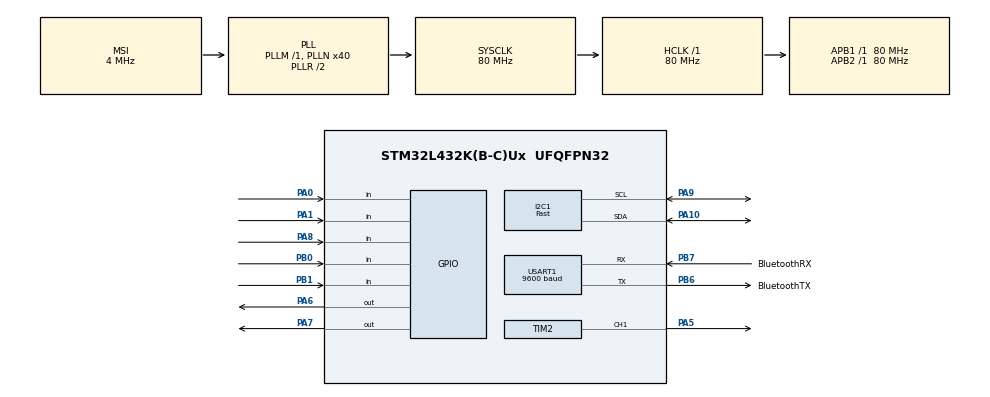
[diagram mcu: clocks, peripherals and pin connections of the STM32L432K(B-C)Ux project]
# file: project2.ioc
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FREERTOS.BinarySemaphores01=myBinarySem01,Dynamic,NULL;myBinarySem02,Dynamic,NULL
FREERTOS.Mutexes01=myMutex01,Dynamic,NULL;myMutex02,Dynamic,NULL
FREERTOS.Queues01=myQueue01,16,uint16_t,0,Dynamic,NULL,NULL;myQueue02,16,uint16_t,0,Dynamic,NULL,NULL
FREERTOS.Tasks01=defaultTask,24,128,StartDefaultTask,Default,NULL,Dynamic,NULL,NULL;myTask02,24,128,StartTask02,Default,NULL,Dynamic,NULL,NULL;myTask03,24,128,StartTask03,Default,NULL,Dynamic,NULL,NULL;myTask04,24,128,StartTask04,Default,NULL,Dynamic,NULL,NULL;myTask05,24,128,StartTask05,Default,NULL,Dynamic,NULL,NULL
FREERTOS.configTOTAL_HEAP_SIZE=4000
I2C1.I2C_Speed_Mode=I2C_Fast
I2C1.Timing=0x00702991
Mcu.Family=STM32L4
Mcu.Name=STM32L432K(B-C)Ux
Mcu.Package=UFQFPN32
NVIC.PriorityGroup=NVIC_PRIORITYGROUP_4
NVIC.TIM1_UP_TIM16_IRQn=true\:0\:0\:false\:false\:true\:false\:false\:true
NVIC.TimeBase=TIM1_UP_TIM16_IRQn
NVIC.TimeBaseIP=TIM1
NVIC.USART1_IRQn=true\:5\:0\:false\:false\:true\:true\:true\:true
PA0.Signal=GPIO_Input
PA1.Signal=GPIO_Input
PA10.Mode=I2C
PA10.Signal=I2C1_SDA
PA13\ (JTMS-SWDIO).Mode=Serial_Wire
PA13\ (JTMS-SWDIO).Signal=SYS_JTMS-SWDIO
PA14\ (JTCK-SWCLK).Mode=Serial_Wire
PA14\ (JTCK-SWCLK).Signal=SYS_JTCK-SWCLK
PA5.Signal=S_TIM2_CH1
PA6.Signal=GPIO_Output
PA7.Signal=GPIO_Output
PA8.Signal=GPIO_Input
PA9.Mode=I2C
PA9.Signal=I2C1_SCL
PB0.Signal=GPIO_Input
PB1.Signal=GPIO_Input
PB6.GPIO_Label=BluetoothTX
PB6.Mode=Asynchronous
PB6.Signal=USART1_TX
PB7.GPIO_Label=BluetoothRX
PB7.Mode=Asynchronous
PB7.Signal=USART1_RX
PC14-OSC32_IN\ (PC14).Mode=LSE-External-Oscillator
PC14-OSC32_IN\ (PC14).Signal=RCC_OSC32_IN
PC15-OSC32_OUT\ (PC15).Mode=LSE-External-Oscillator
PC15-OSC32_OUT\ (PC15).Signal=RCC_OSC32_OUT
ProjectManager.HeapSize=0x200
ProjectManager.StackSize=0x400
ProjectManager.TargetToolchain=MDK-ARM V5
RCC.AHBFreq_Value=80000000
RCC.APB1Freq_Value=80000000
RCC.APB1TimFreq_Value=80000000
RCC.APB2Freq_Value=80000000
RCC.APB2TimFreq_Value=80000000
RCC.CortexFreq_Value=80000000
RCC.HCLKFreq_Value=80000000
RCC.HSE_VALUE=8000000
RCC.HSI48_VALUE=48000000
RCC.HSI_VALUE=16000000
RCC.MSI_VALUE=4000000
RCC.PLLN=40
RCC.SYSCLKFreq_VALUE=80000000
RCC.SYSCLKSource=RCC_SYSCLKSOURCE_PLLCLK
RCC.VCOOutputFreq_Value=160000000
SH.S_TIM2_CH1.0=TIM2_CH1,PWM Generation1 CH1
TIM2.Channel-PWM\ Generation1\ CH1=TIM_CHANNEL_1
TIM2.Period=1999
TIM2.Prescaler=720
USART1.BaudRate=9600
USART1.VirtualMode-Asynchronous=VM_ASYNC
VP_FREERTOS_VS_CMSIS_V2.Mode=CMSIS_V2
VP_SYS_VS_tim1.Mode=TIM1
VP_TIM2_VS_ClockSourceINT.Mode=Internal
board=custom

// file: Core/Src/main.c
/* USER CODE BEGIN Header */
/**
  ******************************************************************************
  * @file           : main.c
  * @brief          : Main program body
  ******************************************************************************
  * @attention
  *
  * <h2><center>&copy; Copyright (c) 2021 STMicroelectronics.
  * All rights reserved.</center></h2>
  *
  * This software component is licensed by ST under BSD 3-Clause license,
  * the "License"; You may not use this file except in compliance with the
  * License. You may obtain a copy of the License at:
  *                        opensource.org/licenses/BSD-3-Clause
  *
  ******************************************************************************
  */
/* USER CODE END Header */
#include "main.h"
#include "cmsis_os.h"

/* USER CODE BEGIN Includes */
#include "ssd1306.h"
#include "fonts.h"
#include "mylibrary.h"
#include <stdlib.h>
#include "FreeRTOS.h"
#include "queue.h"
#include "cmsis_os.h"
#include "semphr.h"
#include "DC_MOTOR.h"
#include "DC_MOTOR_cfg.h"
/* USER CODE END Includes */

/* USER CODE BEGIN PD */
#define DC_MOTOR1    0

/* USER CODE END PD */

I2C_HandleTypeDef hi2c1;

TIM_HandleTypeDef htim2;

UART_HandleTypeDef huart1;

/* Definitions for defaultTask */
osThreadId_t defaultTaskHandle;
const osThreadAttr_t defaultTask_attributes = {
  .name = "defaultTask",
  .stack_size = 128 * 4,
  .priority = (osPriority_t) osPriorityNormal,
};
/* Definitions for myTask02 */
osThreadId_t myTask02Handle;
const osThreadAttr_t myTask02_attributes = {
  .name = "myTask02",
  .stack_size = 128 * 4,
  .priority = (osPriority_t) osPriorityNormal,
};
/* Definitions for myTask03 */
osThreadId_t myTask03Handle;
const osThreadAttr_t myTask03_attributes = {
  .name = "myTask03",
  .stack_size = 128 * 4,
  .priority = (osPriority_t) osPriorityNormal,
};
/* Definitions for myTask04 */
osThreadId_t myTask04Handle;
const osThreadAttr_t myTask04_attributes = {
  .name = "myTask04",
  .stack_size = 128 * 4,
  .priority = (osPriority_t) osPriorityNormal,
};
/* Definitions for myTask05 */
osThreadId_t myTask05Handle;
const osThreadAttr_t myTask05_attributes = {
  .name = "myTask05",
  .stack_size = 128 * 4,
  .priority = (osPriority_t) osPriorityNormal,
};
/* Definitions for myQueue01 */
osMessageQueueId_t myQueue01Handle;
const osMessageQueueAttr_t myQueue01_attributes = {
  .name = "myQueue01"
};
/* Definitions for myQueue02 */
osMessageQueueId_t myQueue02Handle;
const osMessageQueueAttr_t myQueue02_attributes = {
  .name = "myQueue02"
};
/* Definitions for myMutex01 */
osMutexId_t myMutex01Handle;
const osMutexAttr_t myMutex01_attributes = {
  .name = "myMutex01"
};
/* Definitions for myMutex02 */
osMutexId_t myMutex02Handle;
const osMutexAttr_t myMutex02_attributes = {
  .name = "myMutex02"
};
/* Definitions for myBinarySem01 */
osSemaphoreId_t myBinarySem01Handle;
const osSemaphoreAttr_t myBinarySem01_attributes = {
  .name = "myBinarySem01"
};
/* Definitions for myBinarySem02 */
osSemaphoreId_t myBinarySem02Handle;
const osSemaphoreAttr_t myBinarySem02_attributes = {
  .name = "myBinarySem02"
};
/* USER CODE BEGIN PV */
SemaphoreHandle_t xSemaphore;

typedef struct {
	GPIO_TypeDef* port;
	uint16_t pin;
	char status;
	char* name; /* like "slot 1" */
	}slot;

	uint8_t nl[2] ="\r\n";

	int slots_num = 4; /*number of slots*/

	uint8_t check;
	slot slots[4];

	char* BCompare;
	int var=9;
	char* str = "\r\n";
	int flag =0;
	uint8_t MOTOR1_DIR;
  uint8_t DIR_FLAG;
	uint16_t speed;
	uint32_t delay;
	int entry_car;
	int bar_speed = 1000;
	int bar_time=60;

/* USER CODE END PV */

void SystemClock_Config(void);
static void MX_GPIO_Init(void);
static void MX_I2C1_Init(void);
static void MX_USART1_UART_Init(void);
static void MX_TIM2_Init(void);
void StartDefaultTask(void *argument);
void StartTask02(void *argument);
void StartTask03(void *argument);
void StartTask04(void *argument);
void StartTask05(void *argument);

/* USER CODE BEGIN PFP */
void readSensors(slot slots[slots_num]);
void DisplaySlot(int slotNum, int x1, int y1,int x2,int y2, slot slots[slots_num]);
void SendReceive_BT();

/* USER CODE END PFP */

/* USER CODE BEGIN 0 */

void DC_Motor_Cntrl()
{
	int space_available=0;
	for (int i=0;i<slots_num;i++)
	{
		if (slots[i].status=='E')
			space_available =1;
	}

	if(entry_car==0)
	{
	if(HAL_GPIO_ReadPin(GPIOA , GPIO_PIN_8)== GPIO_PIN_RESET)
	{
		if(space_available==1){
		entry_car=1;
		//DC_MOTOR_Set_Speed(DC_MOTOR1, speed);

		if(DIR_FLAG == 0)
		{
			speed = bar_speed;

			MOTOR1_DIR = DIR_CW;
			DIR_FLAG = 1;
			delay = bar_time;
		}
	}

//		else if(DIR_FLAG == 1)
//		{
			//	speed = 0;

//			DIR_FLAG = 2;
//			delay = 5000;
//			////MOTOR1_DIR = DIR_CCW;
//		}
//		else if(DIR_FLAG == 2)
//		{
			//	speed = 1000;

//
//			MOTOR1_DIR = DIR_CCW;
//			DIR_FLAG = 3;
//			delay = 300;
//		}
//		else
//		{
		//	speed = 0;
//
//			DIR_FLAG = 0;
//			delay = 5000;
//		}

//		DC_MOTOR_Set_Dir(DC_MOTOR1, MOTOR1_DIR);

////		DC_MOTOR_Set_Speed(DC_MOTOR1, 1000);
////		DC_MOTOR_Set_Dir(DC_MOTOR1, DIR_CW);
////		HAL_Delay(1000);
////
////		DC_MOTOR_Set_Speed(DC_MOTOR1, 0);
////		HAL_Delay(2000);
////
////		DC_MOTOR_Set_Speed(DC_MOTOR1, 1000);
////		DC_MOTOR_Set_Dir(DC_MOTOR1, DIR_CCW);
////		HAL_Delay(1000);

////
////		DC_MOTOR_Set_Speed(DC_MOTOR1, 0);

	}

}
	else if(entry_car==1)
	{
 if(DIR_FLAG == 1)
		{
			speed = 0;
			DIR_FLAG = 2;
			delay = 5000;
			////MOTOR1_DIR = DIR_CCW;
		}
		else if(DIR_FLAG == 2)
		{
			speed = bar_speed;
			MOTOR1_DIR = DIR_CCW;
			DIR_FLAG = 3;
			delay = bar_time;
		}
		else
		{
    	speed = 0;
			DIR_FLAG = 0;
			delay = 5000;
			entry_car=0;
		}
	}
		else
	{
		DC_MOTOR_Set_Speed(DC_MOTOR1, 0);
	}

	DC_MOTOR_Set_Speed(DC_MOTOR1, speed);
	DC_MOTOR_Set_Dir(DC_MOTOR1, MOTOR1_DIR);

//		readSensors(slots);

		//HAL_Delay(5000);

}
int i=0;
int count=0;
char BluetoothMsg[50];

void readSensors(slot slots[slots_num])
{
//taskENTER_CRITICAL();
for (int i=0;i<slots_num;i++)
	{
	if(HAL_GPIO_ReadPin(slots[i].port , slots[i].pin)== GPIO_PIN_RESET) /*obstacle is detected*/
		slots[i].status='F';
	else
		if(slots[i].status !='B')
				slots[i].status='E';
//
//	HAL_UART_Transmit(&huart2,slots[i].name,10,5000);
//	HAL_UART_Transmit(&huart2,&slots[i].status,1,5000);
//	HAL_UART_Transmit(&huart2,nl,2,5000);

	}
//taskEXIT_CRITICAL();

}

void DisplaySlot(int slotNum, int x1, int y1,int x2,int y2, slot slots[slots_num])
{

			SSD1306_UpdateScreen();										//print the changes on the display
			SSD1306_GotoXY (x1,y1); 										//Goto 0,0
			SSD1306_Puts(slots[slotNum].name, &Font_11x18, 1);		//puts WORLD on the display
			SSD1306_GotoXY (x2,y2); 										//Goto 10,10
			SSD1306_Puts(&slots[slotNum].status, &Font_11x18, 1);		//puts WORLD on the display
			SSD1306_UpdateScreen();										//print the changes on the display

}

void DisplayOLED(slot slots[slots_num])
{
	//taskENTER_CRITICAL();

		for(int i=0;i<slots_num;i++)
	{
		DisplaySlot(i, i*30, 0, i*30, 30, slots);
	}
//	taskEXIT_CRITICAL();

}
void Booking_BT()
{
	//buffer_index =0;

	if(HAL_UART_Receive(&huart1, (uint8_t*)&buffer[buffer_index++], 1, 10)==HAL_OK) //entrrupt the handler to recieve char by char
	{
				flag=0;

	if(buffer[buffer_index-1] == '\n') //revieving eof

	{
//		strncpy(BluetoothMsg, buffer, strlen(buffer));
//		HAL_UART_Transmit(&huart2, (uint8_t*)buffer, strlen(buffer), 500);
//
//		i = string_compare(buffer,"S1\r\n", strlen(buffer));
//		if ( i == 1)
//		{
//				HAL_UART_Transmit(&huart1, (uint8_t*)"SLOT RESERVED.\n", strlen("SLOT RESERVED.\n"), 500);
//		}
//
//	 else
//			if(strlen(buffer) != 0)
//					HAL_UART_Transmit(&huart1, (uint8_t*)"Try another Slot.\n", strlen("Try another Slot.\n"), 500);

			//taskENTER_CRITICAL();
		for (int j=0; j< slots_num; j++)
		{
			BCompare = (char *) malloc(1 + strlen(slots[j].name)+ strlen(str));
      strcpy(BCompare, slots[j].name); //P1
      strcat(BCompare, str);
			//var = string_compare(buffer,BCompare,strlen(buffer));
			var= strcmp(BCompare, buffer);

			free(BCompare);

			if (var == 0)  //P1 == P1
			{
				flag=1;
				if (slots[j].status == 'E')			//Slot can be reservd
			{
					HAL_UART_Transmit(&huart1, (uint8_t*)"SLOT RESERVED.\n", strlen("SLOT RESERVED.\n"), 500);
				  slots[j].status = 'B';
					//memset(BCompare, 0, 50* (sizeof BCompare[0]) );	//clear the BCCompare
			}
			else if (slots[j].status == 'F'||slots[j].status == 'B') //Slot cannot be reservd
			{
				HAL_UART_Transmit(&huart1, (uint8_t*)"Please choose another slot.\n", strlen("Please chose another slot.\n"), 500);
				//memset(BCompare, 0, 50* (sizeof BCompare[0]) );	//clear the BCCompare
			}
		}

		}
		if(flag==0)   //Invalid input
			{
				HAL_UART_Transmit(&huart1, (uint8_t*)"Invalid Input.\n", strlen("Invalid Input.\n"), 500);
				//memset(BCompare, 0, 50* (sizeof BCompare[0]) );	//clear the BCCompare
				flag =1;
			}

		//	taskEXIT_CRITICAL();

	 	//memset(BluetoothMsg, 0, sizeof(BluetoothMsg));	//clear the buffer
    //free(BCompare);
		memset(buffer, 0, 50* (sizeof buffer[0]) );	//clear the buffer
		buffer_index =0;
	}
}
		__HAL_UART_ENABLE_IT(&huart1, UART_IT_RXNE);

	}

/* USER CODE END 0 */

int main(void)
{

  /* MCU Configuration--------------------------------------------------------*/

  /* Reset of all peripherals, Initializes the Flash interface and the Systick. */
  HAL_Init();

  /* Configure the system clock */
  SystemClock_Config();

  /* Initialize all configured peripherals */
  MX_GPIO_Init();
  MX_I2C1_Init();
  MX_USART1_UART_Init();
  MX_TIM2_Init();
  /* USER CODE BEGIN 2 */

	//BLUETOOTH//
	//HAL_Delay(200);
	//HAL_GPIO_WritePin(BluetoothReset_GPIO_Port, BluetoothReset_Pin, GPIO_PIN_SET);
	//HAL_Delay(1000);
	memset(buffer, 0, sizeof(buffer));	//clear the buffer

	memset(BluetoothMsg, 0, sizeof(BluetoothMsg));	//clear the buffer
	HAL_TIM_Base_Start_IT(&htim2);			//launch the timer that launches every 20 msec
  __HAL_UART_ENABLE_IT(&huart1, UART_IT_RXNE);  //enable UART interrupt
//	__HAL_UART_ENABLE_IT(&huart2, UART_IT_RXNE);  //enable UART interrupt

	SSD1306_Init();

	SSD1306_Clear ();
	//check = SSD1306_Init ();
	SSD1306_Fill (0); 												//fill color 0 ie black
	SSD1306_UpdateScreen();										//print the changes on the display

	SSD1306_GotoXY (0,0); 										//Goto 0,0
	SSD1306_Puts("HELLO", &Font_11x18, 0x01);		//puts HELLO on the display with color ie blue
	SSD1306_UpdateScreen();										//print the changes on the display

	DC_MOTOR_Init(DC_MOTOR1);
	DC_MOTOR_Start(DC_MOTOR1, DIR_CW, 0);
	speed = 0;
	delay = 2000;
	MOTOR1_DIR = DIR_CW;
  DIR_FLAG = 0;
	entry_car=0;
//
//	SSD1306_GotoXY (10,0); 										//Goto 10,10
//	SSD1306_Puts("WORLD", &Font_11x18, 1);		//puts WORLD on the display
//
//	SSD1306_UpdateScreen();										//print the changes on the display
//
//	HAL_Delay (1000);
//	//Clear the screen
//	SSD1306_Fill(0); 												//fill color 0 ie black
//	SSD1306_UpdateScreen();										//print the changes on the display
//	SSD1306_DrawCircle (20,10,5,1);						//Draw circle
//	SSD1306_UpdateScreen();										//print the changes on the display
//
//	SSD1306_DrawFilledRectangle(60,40,20,30,1);
//	SSD1306_UpdateScreen();										//print the changes on the display

  /* USER CODE END 2 */

  /* Init scheduler */
  osKernelInitialize();
  /* Create the mutex(es) */
  /* creation of myMutex01 */
  myMutex01Handle = osMutexNew(&myMutex01_attributes);

  /* creation of myMutex02 */
  myMutex02Handle = osMutexNew(&myMutex02_attributes);

  /* USER CODE BEGIN RTOS_MUTEX */
		xSemaphore = xSemaphoreCreateMutex();

  /* add mutexes, ... */
  /* USER CODE END RTOS_MUTEX */

  /* Create the semaphores(s) */
  /* creation of myBinarySem01 */
  myBinarySem01Handle = osSemaphoreNew(1, 1, &myBinarySem01_attributes);

  /* creation of myBinarySem02 */
  myBinarySem02Handle = osSemaphoreNew(1, 1, &myBinarySem02_attributes);

  /* Create the queue(s) */
  /* creation of myQueue01 */
  myQueue01Handle = osMessageQueueNew (16, sizeof(uint16_t), &myQueue01_attributes);

  /* creation of myQueue02 */
  myQueue02Handle = osMessageQueueNew (16, sizeof(uint16_t), &myQueue02_attributes);

  /* Create the thread(s) */
  /* creation of defaultTask */
  defaultTaskHandle = osThreadNew(StartDefaultTask, NULL, &defaultTask_attributes);

  /* creation of myTask02 */
  myTask02Handle = osThreadNew(StartTask02, NULL, &myTask02_attributes);

  /* creation of myTask03 */
  myTask03Handle = osThreadNew(StartTask03, NULL, &myTask03_attributes);

  /* creation of myTask04 */
  myTask04Handle = osThreadNew(StartTask04, NULL, &myTask04_attributes);

  /* creation of myTask05 */
  myTask05Handle = osThreadNew(StartTask05, NULL, &myTask05_attributes);

  /* Start scheduler */
  osKernelStart();

  /* We should never get here as control is now taken by the scheduler */
  /* Infinite loop */
  /* USER CODE BEGIN WHILE */

  while (1)
  {
//	   DC_MOTOR_Set_Speed(DC_MOTOR1, 1000);

//		if(DIR_FLAG == 0)
//		{
//			MOTOR1_DIR = DIR_CW;
//			DIR_FLAG = 1;
//		}
//		else
//		{
//			MOTOR1_DIR = DIR_CCW;
//			DIR_FLAG = 0;
//		}
//		DC_MOTOR_Set_Dir(DC_MOTOR1, MOTOR1_DIR);

////		readSensors(slots);

//		HAL_Delay(5000);
    /* USER CODE END WHILE */

  }
}

void SystemClock_Config(void)
{
  RCC_OscInitTypeDef RCC_OscInitStruct = {0};
  RCC_ClkInitTypeDef RCC_ClkInitStruct = {0};
  RCC_PeriphCLKInitTypeDef PeriphClkInit = {0};

  /** Configure LSE Drive Capability
  */
  HAL_PWR_EnableBkUpAccess();
  __HAL_RCC_LSEDRIVE_CONFIG(RCC_LSEDRIVE_LOW);
  /** Initializes the RCC Oscillators according to the specified parameters
  * in the RCC_OscInitTypeDef structure.
  */
  RCC_OscInitStruct.OscillatorType = RCC_OSCILLATORTYPE_LSE|RCC_OSCILLATORTYPE_MSI;
  RCC_OscInitStruct.LSEState = RCC_LSE_ON;
  RCC_OscInitStruct.MSIState = RCC_MSI_ON;
  RCC_OscInitStruct.MSICalibrationValue = 0;
  RCC_OscInitStruct.MSIClockRange = RCC_MSIRANGE_6;
  RCC_OscInitStruct.PLL.PLLState = RCC_PLL_ON;
  RCC_OscInitStruct.PLL.PLLSource = RCC_PLLSOURCE_MSI;
  RCC_OscInitStruct.PLL.PLLM = 1;
  RCC_OscInitStruct.PLL.PLLN = 40;
  RCC_OscInitStruct.PLL.PLLP = RCC_PLLP_DIV7;
  RCC_OscInitStruct.PLL.PLLQ = RCC_PLLQ_DIV2;
  RCC_OscInitStruct.PLL.PLLR = RCC_PLLR_DIV2;
  if (HAL_RCC_OscConfig(&RCC_OscInitStruct) != HAL_OK)
  {
    Error_Handler();
  }
  /** Initializes the CPU, AHB and APB buses clocks
  */
  RCC_ClkInitStruct.ClockType = RCC_CLOCKTYPE_HCLK|RCC_CLOCKTYPE_SYSCLK
                              |RCC_CLOCKTYPE_PCLK1|RCC_CLOCKTYPE_PCLK2;
  RCC_ClkInitStruct.SYSCLKSource = RCC_SYSCLKSOURCE_PLLCLK;
  RCC_ClkInitStruct.AHBCLKDivider = RCC_SYSCLK_DIV1;
  RCC_ClkInitStruct.APB1CLKDivider = RCC_HCLK_DIV1;
  RCC_ClkInitStruct.APB2CLKDivider = RCC_HCLK_DIV1;

  if (HAL_RCC_ClockConfig(&RCC_ClkInitStruct, FLASH_LATENCY_4) != HAL_OK)
  {
    Error_Handler();
  }
  PeriphClkInit.PeriphClockSelection = RCC_PERIPHCLK_USART1|RCC_PERIPHCLK_I2C1;
  PeriphClkInit.Usart1ClockSelection = RCC_USART1CLKSOURCE_PCLK2;
  PeriphClkInit.I2c1ClockSelection = RCC_I2C1CLKSOURCE_PCLK1;
  if (HAL_RCCEx_PeriphCLKConfig(&PeriphClkInit) != HAL_OK)
  {
    Error_Handler();
  }
  /** Configure the main internal regulator output voltage
  */
  if (HAL_PWREx_ControlVoltageScaling(PWR_REGULATOR_VOLTAGE_SCALE1) != HAL_OK)
  {
    Error_Handler();
  }
  /** Enable MSI Auto calibration
  */
  HAL_RCCEx_EnableMSIPLLMode();
}

static void MX_I2C1_Init(void)
{

  hi2c1.Instance = I2C1;
  hi2c1.Init.Timing = 0x00702991;
  hi2c1.Init.OwnAddress1 = 0;
  hi2c1.Init.AddressingMode = I2C_ADDRESSINGMODE_7BIT;
  hi2c1.Init.DualAddressMode = I2C_DUALADDRESS_DISABLE;
  hi2c1.Init.OwnAddress2 = 0;
  hi2c1.Init.OwnAddress2Masks = I2C_OA2_NOMASK;
  hi2c1.Init.GeneralCallMode = I2C_GENERALCALL_DISABLE;
  hi2c1.Init.NoStretchMode = I2C_NOSTRETCH_DISABLE;
  if (HAL_I2C_Init(&hi2c1) != HAL_OK)
  {
    Error_Handler();
  }
  /** Configure Analogue filter
  */
  if (HAL_I2CEx_ConfigAnalogFilter(&hi2c1, I2C_ANALOGFILTER_ENABLE) != HAL_OK)
  {
    Error_Handler();
  }
  /** Configure Digital filter
  */
  if (HAL_I2CEx_ConfigDigitalFilter(&hi2c1, 0) != HAL_OK)
  {
    Error_Handler();
  }

}

static void MX_TIM2_Init(void)
{

  TIM_ClockConfigTypeDef sClockSourceConfig = {0};
  TIM_MasterConfigTypeDef sMasterConfig = {0};
  TIM_OC_InitTypeDef sConfigOC = {0};

  htim2.Instance = TIM2;
  htim2.Init.Prescaler = 720;
  htim2.Init.CounterMode = TIM_COUNTERMODE_UP;
  htim2.Init.Period = 1999;
  htim2.Init.ClockDivision = TIM_CLOCKDIVISION_DIV1;
  htim2.Init.AutoReloadPreload = TIM_AUTORELOAD_PRELOAD_DISABLE;
  if (HAL_TIM_Base_Init(&htim2) != HAL_OK)
  {
    Error_Handler();
  }
  sClockSourceConfig.ClockSource = TIM_CLOCKSOURCE_INTERNAL;
  if (HAL_TIM_ConfigClockSource(&htim2, &sClockSourceConfig) != HAL_OK)
  {
    Error_Handler();
  }
  if (HAL_TIM_PWM_Init(&htim2) != HAL_OK)
  {
    Error_Handler();
  }
  sMasterConfig.MasterOutputTrigger = TIM_TRGO_RESET;
  sMasterConfig.MasterSlaveMode = TIM_MASTERSLAVEMODE_DISABLE;
  if (HAL_TIMEx_MasterConfigSynchronization(&htim2, &sMasterConfig) != HAL_OK)
  {
    Error_Handler();
  }
  sConfigOC.OCMode = TIM_OCMODE_PWM1;
  sConfigOC.Pulse = 0;
  sConfigOC.OCPolarity = TIM_OCPOLARITY_HIGH;
  sConfigOC.OCFastMode = TIM_OCFAST_DISABLE;
  if (HAL_TIM_PWM_ConfigChannel(&htim2, &sConfigOC, TIM_CHANNEL_1) != HAL_OK)
  {
    Error_Handler();
  }
  HAL_TIM_MspPostInit(&htim2);

}

static void MX_USART1_UART_Init(void)
{

  huart1.Instance = USART1;
  huart1.Init.BaudRate = 9600;
  huart1.Init.WordLength = UART_WORDLENGTH_8B;
  huart1.Init.StopBits = UART_STOPBITS_1;
  huart1.Init.Parity = UART_PARITY_NONE;
  huart1.Init.Mode = UART_MODE_TX_RX;
  huart1.Init.HwFlowCtl = UART_HWCONTROL_NONE;
  huart1.Init.OverSampling = UART_OVERSAMPLING_16;
  huart1.Init.OneBitSampling = UART_ONE_BIT_SAMPLE_DISABLE;
  huart1.AdvancedInit.AdvFeatureInit = UART_ADVFEATURE_NO_INIT;
  if (HAL_UART_Init(&huart1) != HAL_OK)
  {
    Error_Handler();
  }

}

static void MX_GPIO_Init(void)
{
  GPIO_InitTypeDef GPIO_InitStruct = {0};

  /* GPIO Ports Clock Enable */
  __HAL_RCC_GPIOC_CLK_ENABLE();
  __HAL_RCC_GPIOA_CLK_ENABLE();
  __HAL_RCC_GPIOB_CLK_ENABLE();

  /*Configure GPIO pin Output Level */
  HAL_GPIO_WritePin(GPIOA, GPIO_PIN_6|GPIO_PIN_7, GPIO_PIN_RESET);

  /*Configure GPIO pins : PA0 PA1 PA8 */
  GPIO_InitStruct.Pin = GPIO_PIN_0|GPIO_PIN_1|GPIO_PIN_8;
  GPIO_InitStruct.Mode = GPIO_MODE_INPUT;
  GPIO_InitStruct.Pull = GPIO_NOPULL;
  HAL_GPIO_Init(GPIOA, &GPIO_InitStruct);

  /*Configure GPIO pins : PA6 PA7 */
  GPIO_InitStruct.Pin = GPIO_PIN_6|GPIO_PIN_7;
  GPIO_InitStruct.Mode = GPIO_MODE_OUTPUT_PP;
  GPIO_InitStruct.Pull = GPIO_NOPULL;
  GPIO_InitStruct.Speed = GPIO_SPEED_FREQ_LOW;
  HAL_GPIO_Init(GPIOA, &GPIO_InitStruct);

  /*Configure GPIO pins : PB0 PB1 */
  GPIO_InitStruct.Pin = GPIO_PIN_0|GPIO_PIN_1;
  GPIO_InitStruct.Mode = GPIO_MODE_INPUT;
  GPIO_InitStruct.Pull = GPIO_NOPULL;
  HAL_GPIO_Init(GPIOB, &GPIO_InitStruct);

}

void StartDefaultTask(void *argument)
{
  for(;;)
  {
    osDelay(1);
  }
}

void StartTask02(void *argument)
{
  /* USER CODE BEGIN StartTask02 */

	slots[0].name = "P1";
	slots[0].port= GPIOA;
	slots[0].pin=GPIO_PIN_0;
	slots[0].status='E';

	slots[1].name = "P2";
	slots[1].port= GPIOA;
	slots[1].pin=GPIO_PIN_1;
	slots[1].status='E';

	slots[2].name = "P3";
	slots[2].port= GPIOB;
	slots[2].pin=GPIO_PIN_0;
	slots[2].status='E';

	slots[3].name = "P4";
	slots[3].port= GPIOB;
	slots[3].pin=GPIO_PIN_1;
	slots[3].status='E';

  /* Infinite loop */
  for(;;)
  {
		readSensors(slots);
		osDelay(1);
		 /*read sensors every 1 sec*/
   // osDelay(1000);
  }
  /* USER CODE END StartTask02 */
}

void StartTask03(void *argument)
{
  /* USER CODE BEGIN StartTask03 */
  /* Infinite loop */
	SSD1306_Clear ();

  for(;;)
  {
		DisplayOLED(slots);
    osDelay(1);
  }
  /* USER CODE END StartTask03 */
}

void StartTask04(void *argument)
{
  /* USER CODE BEGIN StartTask04 */
  /* Infinite loop */
  for(;;)
  {
		if(xSemaphoreTake(myBinarySem01Handle, 9999999))
		{
				if(xSemaphoreTake(xSemaphore, 1000))
				{

				Booking_BT();		//Booking Bluetooth
				xSemaphoreGive(xSemaphore);		//UART1 Semaphore/Mutex

				}

		}

    osDelay(1);
  }
  /* USER CODE END StartTask04 */
}

void StartTask05(void *argument)
{
  /* USER CODE BEGIN StartTask05 */
  /* Infinite loop */
  for(;;)
  {
		DC_Motor_Cntrl();
    osDelay(delay);
		//osDelay(2000);

  }
  /* USER CODE END StartTask05 */
}

 /**
  * @brief  Period elapsed callback in non blocking mode
  * @note   This function is called  when TIM1 interrupt took place, inside
  * HAL_TIM_IRQHandler(). It makes a direct call to HAL_IncTick() to increment
  * a global variable "uwTick" used as application time base.
  * @param  htim : TIM handle
  * @retval None
  */
void HAL_TIM_PeriodElapsedCallback(TIM_HandleTypeDef *htim)
{
  if (htim->Instance == TIM1) {
    HAL_IncTick();
  }
}

void Error_Handler(void)
{
  __disable_irq();
  while (1)
  {
  }
}

/************************ (C) COPYRIGHT STMicroelectronics *****END OF FILE****/
